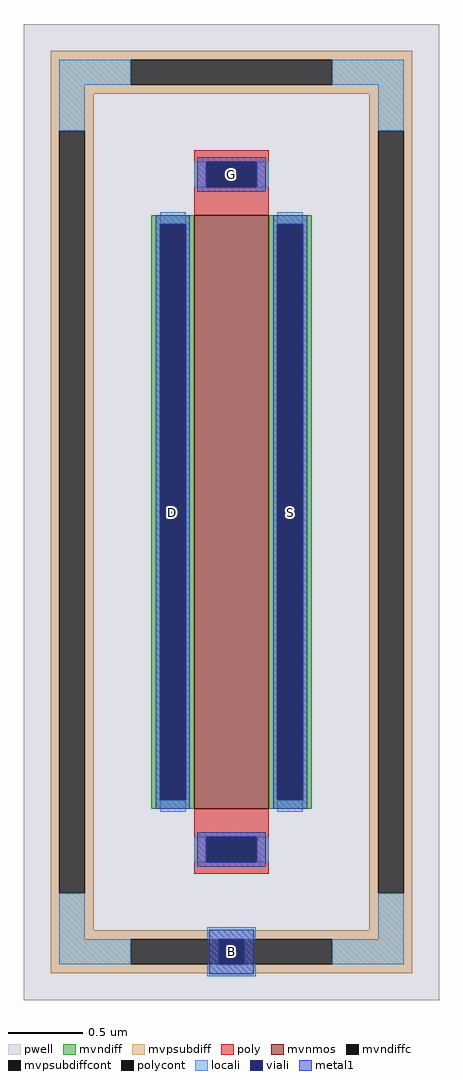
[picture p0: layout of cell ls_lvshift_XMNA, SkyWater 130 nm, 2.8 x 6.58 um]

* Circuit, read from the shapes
.subckt ls_lvshift_XMNA B D S G
XM1 S G D B sky130_fd_pr__nfet_g5v0d10v5 w=4 l=0.5
.ends

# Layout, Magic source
magic
tech sky130A
magscale 1 2
<< pwell >>
rect -280 -658 280 658
<< mvnmos >>
rect -50 -400 50 400
<< mvndiff >>
rect -108 388 -50 400
rect -108 -388 -96 388
rect -62 -388 -50 388
rect -108 -400 -50 -388
rect 50 388 108 400
rect 50 -388 62 388
rect 96 -388 108 388
rect 50 -400 108 -388
<< mvndiffc >>
rect -96 -388 -62 388
rect 62 -388 96 388
<< mvpsubdiff >>
rect -244 610 244 622
rect -244 576 -136 610
rect 136 576 244 610
rect -244 564 244 576
rect -244 514 -186 564
rect -244 -514 -232 514
rect -198 -514 -186 514
rect 186 514 244 564
rect -244 -564 -186 -514
rect 186 -514 198 514
rect 232 -514 244 514
rect 186 -564 244 -514
rect -244 -576 244 -564
rect -244 -610 -136 -576
rect 136 -610 244 -576
rect -244 -622 244 -610
<< mvpsubdiffcont >>
rect -136 576 136 610
rect -232 -514 -198 514
rect 198 -514 232 514
rect -136 -610 136 -576
<< poly >>
rect -50 472 50 488
rect -50 438 -34 472
rect 34 438 50 472
rect -50 400 50 438
rect -50 -438 50 -400
rect -50 -472 -34 -438
rect 34 -472 50 -438
rect -50 -488 50 -472
<< polycont >>
rect -34 438 34 472
rect -34 -472 34 -438
<< locali >>
rect -232 576 -136 610
rect 136 576 232 610
rect -232 514 -198 576
rect 198 514 232 576
rect -50 438 -34 472
rect 34 438 50 472
rect -96 388 -62 404
rect -96 -404 -62 -388
rect 62 388 96 404
rect 62 -404 96 -388
rect -50 -472 -34 -438
rect 34 -472 50 -438
rect -232 -576 -198 -514
rect -33 -576 33 -560
rect 198 -576 232 -514
rect -232 -610 -136 -576
rect 136 -610 232 -576
rect -33 -626 33 -610
<< viali >>
rect -34 438 34 472
rect -96 -388 -62 388
rect 62 -388 96 388
rect -34 -472 34 -438
rect -17 -610 17 -576
<< metal1 >>
rect -46 472 46 478
rect -46 438 -34 472
rect 34 438 46 472
rect -46 432 46 438
rect -102 388 -56 400
rect -102 -388 -96 388
rect -62 -388 -56 388
rect -102 -400 -56 -388
rect 56 388 102 400
rect 56 -388 62 388
rect 96 -388 102 388
rect 56 -400 102 -388
rect -46 -438 46 -432
rect -46 -472 -34 -438
rect 34 -472 46 -438
rect -46 -478 46 -472
rect -30 -576 30 -563
rect -30 -610 -17 -576
rect 17 -610 30 -576
rect -30 -623 30 -610
<< labels >>
rlabel mvpsubdiffcont 0 -593 0 -593 0 B
port 4 nsew
rlabel mvndiffc -79 0 -79 0 0 D
port 5 nsew
rlabel mvndiffc 79 0 79 0 0 S
port 6 nsew
rlabel polycont 0 455 0 455 0 G
port 7 nsew
<< properties >>
string FIXED_BBOX -215 -593 215 593
<< end >>
